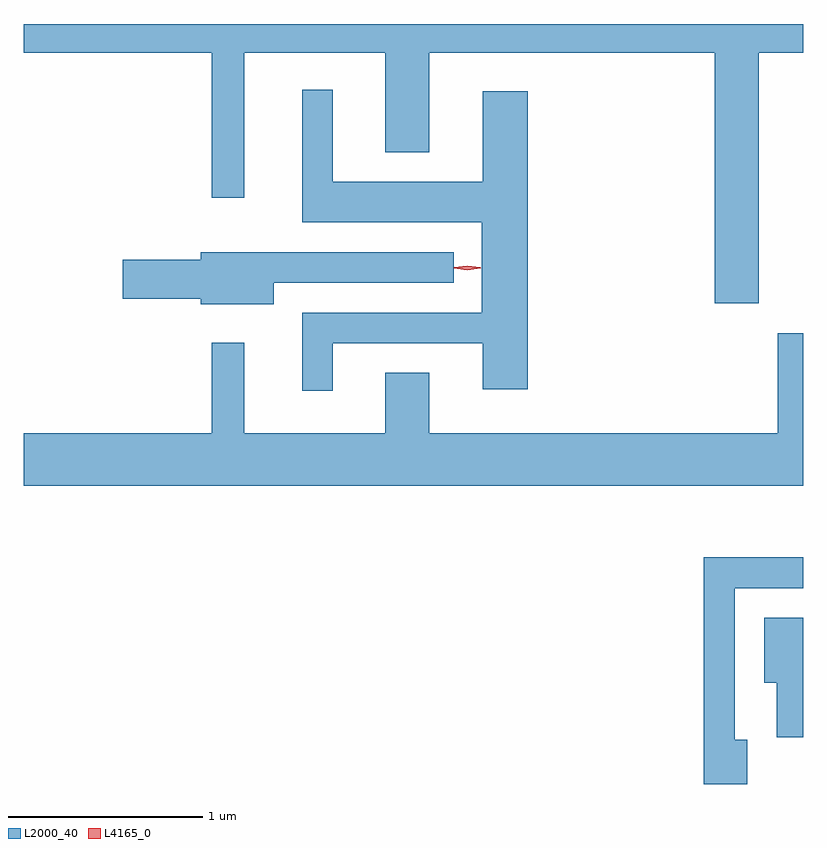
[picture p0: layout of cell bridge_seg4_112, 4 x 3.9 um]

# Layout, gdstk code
import gdstk
lib = gdstk.Library(unit=1e-6, precision=1e-09)
def P(c, l, *ps):  # polygons
    for p in ps: c.add(gdstk.Polygon(p, *l))
L2000_40 = (2000, 40)
L4165_0 = (4165, 0)

bridge_seg4_112 = lib.new_cell('bridge_seg4_112')
P(bridge_seg4_112, L2000_40, [(921.529,1367.996),(921.757,1367.996),(921.757,1368.144),(917.757,1368.144),(917.757,1367.996),(918.721,1367.996),(918.721,1367.253),(918.889,1367.253),(918.889,1367.996),(919.611,1367.996),(919.611,1367.486),(919.839,1367.486),(919.839,1367.996),(921.301,1367.996),(921.301,1366.711),(921.529,1366.711)],
  [(919.344,1366.506),(920.111,1366.506),(920.111,1366.271),(920.344,1366.271),(920.344,1367.799),(920.111,1367.799),(920.111,1367.334),(919.344,1367.334),(919.344,1367.808),(919.186,1367.808),(919.186,1367.126),(920.106,1367.126),(920.106,1366.664),(919.186,1366.664),(919.186,1366.263),(919.344,1366.263)],
  [(919.039,1366.816),(919.963,1366.816),(919.963,1366.974),(918.666,1366.974),(918.666,1366.934),(918.266,1366.934),(918.266,1366.736),(918.666,1366.736),(918.666,1366.706),(919.039,1366.706)],
  [(921.757,1366.559),(921.626,1366.559),(921.626,1366.044),(919.839,1366.044),(919.839,1366.354),(919.611,1366.354),(919.611,1366.044),(918.889,1366.044),(918.889,1366.508),(918.721,1366.508),(918.721,1366.044),(917.757,1366.044),(917.757,1365.776),(921.757,1365.776)],
  [(921.469,1364.474),(921.404,1364.474),(921.404,1365.251),(921.757,1365.251),(921.757,1365.409),(921.246,1365.409),(921.246,1364.246),(921.469,1364.246)],
  [(921.757,1365.099),(921.556,1365.099),(921.556,1364.766),(921.621,1364.766),(921.621,1364.486),(921.757,1364.486)])
P(bridge_seg4_112, L4165_0, [(920.033,1366.882),(919.964,1366.892),(919.964,1366.892),(919.964,1366.893),(920.033,1366.902),(920.102,1366.893),(920.103,1366.892),(920.102,1366.892)],
  [(920.033,1366.885),(919.967,1366.894),(919.967,1366.895),(919.967,1366.896),(920.033,1366.905),(920.099,1366.896),(920.099,1366.895),(920.099,1366.894)])

lib.write_gds('bridge_seg4_112.gds')
